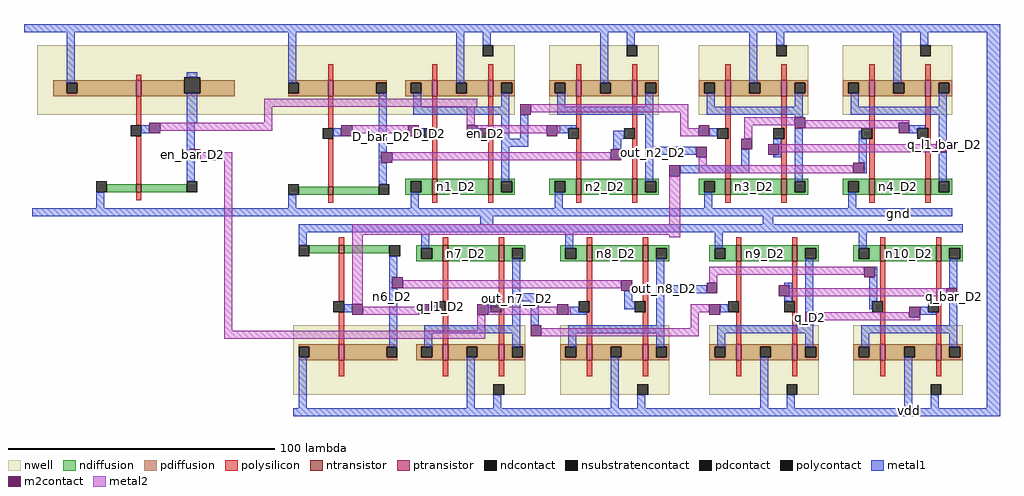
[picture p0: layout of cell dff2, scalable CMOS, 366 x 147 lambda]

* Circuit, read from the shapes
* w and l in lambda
.subckt dff2 D_D2 D_bar_D2 en_D2 en_bar_D2 gnd n10_D2 n1_D2 n2_D2 n3_D2 n4_D2 n6_D2 n7_D2 n8_D2 n9_D2 out_n1_D2 out_n2_D2 out_n7__D2 out_n8_D2 q_D2 q_bar_D2 q_l1_D2 q_l1_bar_D2 vdd
M1 en_bar_D2 en_D2 gnd VSUBS nfet w=3 l=2
M2 D_bar_D2 D_D2 gnd VSUBS nfet w=3 l=2
M3 n6_D2 q_l1_D2 gnd VSUBS nfet w=3 l=2
M4 n1_D2 D_D2 gnd VSUBS nfet w=6 l=2
M5 n7_D2 q_l1_D2 gnd VSUBS nfet w=6 l=2
M6 out_n1_D2 en_D2 n1_D2 VSUBS nfet w=6 l=2
M7 out_n7__D2 en_bar_D2 n7_D2 VSUBS nfet w=6 l=2
M8 n2_D2 en_D2 gnd VSUBS nfet w=6 l=2
M9 n8_D2 en_bar_D2 gnd VSUBS nfet w=6 l=2
M10 out_n2_D2 D_bar_D2 n2_D2 VSUBS nfet w=6 l=2
M11 out_n8_D2 n6_D2 n8_D2 VSUBS nfet w=6 l=2
M12 n3_D2 out_n1_D2 gnd VSUBS nfet w=6 l=2
M13 n9_D2 out_n7__D2 gnd VSUBS nfet w=6 l=2
M14 q_l1_D2 q_l1_bar_D2 n3_D2 VSUBS nfet w=6 l=2
M15 q_D2 q_bar_D2 n9_D2 VSUBS nfet w=6 l=2
M16 n4_D2 out_n2_D2 gnd VSUBS nfet w=6 l=2
M17 n10_D2 out_n8_D2 gnd VSUBS nfet w=6 l=2
M18 q_l1_bar_D2 q_l1_D2 n4_D2 VSUBS nfet w=6 l=2
M19 q_bar_D2 q_D2 n10_D2 VSUBS nfet w=6 l=2
M20 en_bar_D2 en_D2 vdd vdd pfet w=6 l=2
M21 D_bar_D2 D_D2 vdd vdd pfet w=6 l=2
M22 n6_D2 q_l1_D2 vdd vdd pfet w=6 l=2
M23 vdd D_D2 out_n1_D2 vdd pfet w=6 l=2
M24 vdd q_l1_D2 out_n7__D2 vdd pfet w=6 l=2
M25 out_n1_D2 en_D2 vdd vdd pfet w=6 l=2
M26 out_n7__D2 en_bar_D2 vdd vdd pfet w=6 l=2
M27 vdd en_D2 out_n2_D2 vdd pfet w=6 l=2
M28 vdd en_bar_D2 out_n8_D2 vdd pfet w=6 l=2
M29 out_n2_D2 D_bar_D2 vdd vdd pfet w=6 l=2
M30 out_n8_D2 n6_D2 vdd vdd pfet w=6 l=2
M31 vdd out_n1_D2 q_l1_D2 vdd pfet w=6 l=2
M32 vdd out_n7__D2 q_D2 vdd pfet w=6 l=2
M33 q_l1_D2 q_l1_bar_D2 vdd vdd pfet w=6 l=2
M34 q_D2 q_bar_D2 vdd vdd pfet w=6 l=2
M35 vdd out_n2_D2 q_l1_bar_D2 vdd pfet w=6 l=2
M36 vdd out_n8_D2 q_bar_D2 vdd pfet w=6 l=2
M37 q_l1_bar_D2 q_l1_D2 vdd vdd pfet w=6 l=2
M38 q_bar_D2 q_D2 vdd vdd pfet w=6 l=2
.ends

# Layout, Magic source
magic
tech scmos
<< nwell >>
rect 5 113 184 139
rect 197 113 238 139
rect 253 113 294 139
rect 307 113 348 139
rect 101 8 188 34
rect 201 8 242 34
rect 257 8 298 34
rect 311 8 352 34
<< polysilicon >>
rect 42 126 44 128
rect 114 126 116 132
rect 153 126 155 132
rect 174 126 176 132
rect 207 126 209 132
rect 228 126 230 132
rect 263 126 265 132
rect 284 126 286 132
rect 317 126 319 132
rect 338 126 340 132
rect 42 109 44 120
rect 114 108 116 120
rect 153 108 155 120
rect 174 108 176 120
rect 207 108 209 120
rect 228 108 230 120
rect 263 108 265 120
rect 284 108 286 120
rect 317 108 319 120
rect 338 108 340 120
rect 42 87 44 105
rect 154 104 155 108
rect 175 104 176 108
rect 208 104 209 108
rect 229 104 230 108
rect 264 104 265 108
rect 285 104 286 108
rect 318 104 319 108
rect 339 104 340 108
rect 42 81 44 84
rect 114 86 116 104
rect 153 89 155 104
rect 174 89 176 104
rect 207 89 209 104
rect 228 89 230 104
rect 263 89 265 104
rect 284 89 286 104
rect 317 89 319 104
rect 338 89 340 104
rect 114 80 116 83
rect 153 80 155 83
rect 174 80 176 83
rect 207 80 209 83
rect 228 80 230 83
rect 263 80 265 83
rect 284 80 286 83
rect 317 80 319 83
rect 338 80 340 83
rect 118 64 120 67
rect 157 64 159 67
rect 178 64 180 67
rect 211 64 213 67
rect 232 64 234 67
rect 267 64 269 67
rect 288 64 290 67
rect 321 64 323 67
rect 342 64 344 67
rect 118 43 120 61
rect 157 43 159 58
rect 178 43 180 58
rect 211 43 213 58
rect 232 43 234 58
rect 267 43 269 58
rect 288 43 290 58
rect 321 43 323 58
rect 342 43 344 58
rect 158 39 159 43
rect 179 39 180 43
rect 212 39 213 43
rect 233 39 234 43
rect 268 39 269 43
rect 289 39 290 43
rect 322 39 323 43
rect 343 39 344 43
rect 118 27 120 39
rect 157 27 159 39
rect 178 27 180 39
rect 211 27 213 39
rect 232 27 234 39
rect 267 27 269 39
rect 288 27 290 39
rect 321 27 323 39
rect 342 27 344 39
rect 118 15 120 21
rect 157 15 159 21
rect 178 15 180 21
rect 211 15 213 21
rect 232 15 234 21
rect 267 15 269 21
rect 288 15 290 21
rect 321 15 323 21
rect 342 15 344 21
<< ndiffusion >>
rect 31 84 42 87
rect 44 84 61 87
rect 143 88 153 89
rect 103 83 114 86
rect 116 83 133 86
rect 143 84 145 88
rect 149 84 153 88
rect 143 83 153 84
rect 155 83 174 89
rect 176 88 184 89
rect 176 84 179 88
rect 183 84 184 88
rect 176 83 184 84
rect 197 88 207 89
rect 197 84 199 88
rect 203 84 207 88
rect 197 83 207 84
rect 209 83 228 89
rect 230 88 238 89
rect 230 84 233 88
rect 237 84 238 88
rect 230 83 238 84
rect 253 88 263 89
rect 253 84 255 88
rect 259 84 263 88
rect 253 83 263 84
rect 265 83 284 89
rect 286 88 294 89
rect 286 84 289 88
rect 293 84 294 88
rect 286 83 294 84
rect 307 88 317 89
rect 307 84 309 88
rect 313 84 317 88
rect 307 83 317 84
rect 319 83 338 89
rect 340 88 348 89
rect 340 84 343 88
rect 347 84 348 88
rect 340 83 348 84
rect 107 61 118 64
rect 120 61 137 64
rect 147 63 157 64
rect 147 59 149 63
rect 153 59 157 63
rect 147 58 157 59
rect 159 58 178 64
rect 180 63 188 64
rect 180 59 183 63
rect 187 59 188 63
rect 180 58 188 59
rect 201 63 211 64
rect 201 59 203 63
rect 207 59 211 63
rect 201 58 211 59
rect 213 58 232 64
rect 234 63 242 64
rect 234 59 237 63
rect 241 59 242 63
rect 234 58 242 59
rect 257 63 267 64
rect 257 59 259 63
rect 263 59 267 63
rect 257 58 267 59
rect 269 58 288 64
rect 290 63 298 64
rect 290 59 293 63
rect 297 59 298 63
rect 290 58 298 59
rect 311 63 321 64
rect 311 59 313 63
rect 317 59 321 63
rect 311 58 321 59
rect 323 58 342 64
rect 344 63 352 64
rect 344 59 347 63
rect 351 59 352 63
rect 344 58 352 59
<< pdiffusion >>
rect 11 125 42 126
rect 11 121 16 125
rect 20 121 42 125
rect 11 120 42 121
rect 44 121 60 126
rect 66 121 79 126
rect 44 120 79 121
rect 99 125 114 126
rect 103 121 114 125
rect 99 120 114 121
rect 116 125 136 126
rect 116 121 132 125
rect 116 120 136 121
rect 143 125 153 126
rect 143 121 145 125
rect 149 121 153 125
rect 143 120 153 121
rect 155 125 174 126
rect 155 121 162 125
rect 166 121 174 125
rect 155 120 174 121
rect 176 125 184 126
rect 176 121 179 125
rect 183 121 184 125
rect 176 120 184 121
rect 197 125 207 126
rect 197 121 199 125
rect 203 121 207 125
rect 197 120 207 121
rect 209 125 228 126
rect 209 121 216 125
rect 220 121 228 125
rect 209 120 228 121
rect 230 125 238 126
rect 230 121 233 125
rect 237 121 238 125
rect 230 120 238 121
rect 253 125 263 126
rect 253 121 255 125
rect 259 121 263 125
rect 253 120 263 121
rect 265 125 284 126
rect 265 121 272 125
rect 276 121 284 125
rect 265 120 284 121
rect 286 125 294 126
rect 286 121 289 125
rect 293 121 294 125
rect 286 120 294 121
rect 307 125 317 126
rect 307 121 309 125
rect 313 121 317 125
rect 307 120 317 121
rect 319 125 338 126
rect 319 121 326 125
rect 330 121 338 125
rect 319 120 338 121
rect 340 125 348 126
rect 340 121 343 125
rect 347 121 348 125
rect 340 120 348 121
rect 103 26 118 27
rect 107 22 118 26
rect 103 21 118 22
rect 120 26 140 27
rect 120 22 136 26
rect 120 21 140 22
rect 147 26 157 27
rect 147 22 149 26
rect 153 22 157 26
rect 147 21 157 22
rect 159 26 178 27
rect 159 22 166 26
rect 170 22 178 26
rect 159 21 178 22
rect 180 26 188 27
rect 180 22 183 26
rect 187 22 188 26
rect 180 21 188 22
rect 201 26 211 27
rect 201 22 203 26
rect 207 22 211 26
rect 201 21 211 22
rect 213 26 232 27
rect 213 22 220 26
rect 224 22 232 26
rect 213 21 232 22
rect 234 26 242 27
rect 234 22 237 26
rect 241 22 242 26
rect 234 21 242 22
rect 257 26 267 27
rect 257 22 259 26
rect 263 22 267 26
rect 257 21 267 22
rect 269 26 288 27
rect 269 22 276 26
rect 280 22 288 26
rect 269 21 288 22
rect 290 26 298 27
rect 290 22 293 26
rect 297 22 298 26
rect 290 21 298 22
rect 311 26 321 27
rect 311 22 313 26
rect 317 22 321 26
rect 311 21 321 22
rect 323 26 342 27
rect 323 22 330 26
rect 334 22 342 26
rect 323 21 342 22
rect 344 26 352 27
rect 344 22 347 26
rect 351 22 352 26
rect 344 21 352 22
<< metal1 >>
rect 0 144 366 147
rect 16 125 19 144
rect 61 127 65 129
rect 99 125 102 144
rect 162 125 165 144
rect 172 139 175 144
rect 216 125 219 144
rect 226 139 229 144
rect 272 125 275 144
rect 282 139 285 144
rect 326 125 329 144
rect 336 139 339 144
rect 61 110 65 121
rect 44 106 47 109
rect 61 100 64 110
rect 116 105 119 108
rect 61 96 62 100
rect 133 99 136 121
rect 146 116 149 121
rect 179 116 182 121
rect 146 113 182 116
rect 148 105 150 108
rect 170 105 171 108
rect 179 104 182 113
rect 200 116 203 121
rect 233 116 236 121
rect 200 113 236 116
rect 256 116 259 121
rect 289 116 292 121
rect 256 113 292 116
rect 310 116 313 121
rect 343 116 346 121
rect 310 113 346 116
rect 186 104 189 113
rect 200 108 207 109
rect 200 106 204 108
rect 221 104 225 107
rect 179 101 189 104
rect 61 88 64 96
rect 133 95 134 99
rect 133 87 136 95
rect 179 88 182 101
rect 221 100 224 104
rect 233 101 236 113
rect 289 112 292 113
rect 257 105 260 108
rect 233 98 252 101
rect 233 88 236 98
rect 281 102 284 104
rect 269 94 272 100
rect 283 98 284 102
rect 281 97 284 98
rect 246 91 272 94
rect 289 88 292 108
rect 313 104 314 107
rect 332 108 338 109
rect 332 106 335 108
rect 313 95 316 104
rect 343 103 346 113
rect 315 91 316 95
rect 343 88 346 99
rect 27 78 30 84
rect 99 78 102 83
rect 145 78 148 84
rect 199 78 202 84
rect 255 78 258 84
rect 309 78 312 84
rect 3 75 348 78
rect 171 72 176 75
rect 277 72 281 75
rect 103 69 352 72
rect 103 64 106 69
rect 149 63 152 69
rect 203 63 206 69
rect 259 63 262 69
rect 313 63 316 69
rect 137 52 140 60
rect 137 48 138 52
rect 120 39 123 42
rect 137 26 140 48
rect 183 46 186 59
rect 183 43 193 46
rect 225 43 228 47
rect 237 49 240 59
rect 237 46 256 49
rect 285 49 288 50
rect 152 39 154 42
rect 174 39 175 42
rect 183 34 186 43
rect 150 31 186 34
rect 150 26 153 31
rect 183 26 186 31
rect 190 34 193 43
rect 204 39 208 41
rect 225 40 229 43
rect 204 38 211 39
rect 237 34 240 46
rect 287 45 288 49
rect 285 43 288 45
rect 261 39 264 42
rect 293 39 296 59
rect 319 52 320 56
rect 317 43 320 52
rect 347 48 350 59
rect 317 40 318 43
rect 336 39 339 41
rect 336 38 342 39
rect 293 34 296 35
rect 347 34 350 44
rect 204 31 240 34
rect 204 26 207 31
rect 237 26 240 31
rect 260 31 296 34
rect 260 26 263 31
rect 293 26 296 31
rect 314 31 350 34
rect 314 26 317 31
rect 347 26 350 31
rect 103 3 106 22
rect 166 3 169 22
rect 176 3 179 8
rect 220 3 223 22
rect 230 3 233 8
rect 276 3 279 22
rect 286 3 289 8
rect 330 3 333 22
rect 340 3 343 8
rect 361 3 366 144
rect 101 0 366 3
<< metal2 >>
rect 90 116 170 119
rect 90 110 93 116
rect 51 107 93 110
rect 166 109 169 116
rect 190 114 249 117
rect 123 106 144 109
rect 170 106 196 109
rect 200 106 201 109
rect 246 108 249 114
rect 270 109 289 112
rect 246 105 253 108
rect 270 104 273 109
rect 293 110 332 111
rect 293 108 328 110
rect 66 96 78 99
rect 75 32 78 96
rect 138 96 220 99
rect 283 99 342 102
rect 253 94 256 97
rect 253 91 311 94
rect 242 72 246 90
rect 123 68 246 72
rect 123 42 127 68
rect 242 67 246 68
rect 257 53 315 56
rect 142 48 224 51
rect 257 50 260 53
rect 287 45 346 48
rect 127 38 148 41
rect 174 38 200 41
rect 204 38 205 41
rect 250 39 257 42
rect 170 32 173 38
rect 75 29 173 32
rect 250 33 253 39
rect 297 37 332 39
rect 297 36 336 37
rect 194 30 253 33
<< ntransistor >>
rect 42 84 44 87
rect 114 83 116 86
rect 153 83 155 89
rect 174 83 176 89
rect 207 83 209 89
rect 228 83 230 89
rect 263 83 265 89
rect 284 83 286 89
rect 317 83 319 89
rect 338 83 340 89
rect 118 61 120 64
rect 157 58 159 64
rect 178 58 180 64
rect 211 58 213 64
rect 232 58 234 64
rect 267 58 269 64
rect 288 58 290 64
rect 321 58 323 64
rect 342 58 344 64
<< ptransistor >>
rect 42 120 44 126
rect 114 120 116 126
rect 153 120 155 126
rect 174 120 176 126
rect 207 120 209 126
rect 228 120 230 126
rect 263 120 265 126
rect 284 120 286 126
rect 317 120 319 126
rect 338 120 340 126
rect 118 21 120 27
rect 157 21 159 27
rect 178 21 180 27
rect 211 21 213 27
rect 232 21 234 27
rect 267 21 269 27
rect 288 21 290 27
rect 321 21 323 27
rect 342 21 344 27
<< polycontact >>
rect 40 105 44 109
rect 112 104 116 108
rect 150 104 154 108
rect 171 104 175 108
rect 204 104 208 108
rect 225 104 229 108
rect 260 104 264 108
rect 281 104 285 108
rect 314 104 318 108
rect 335 104 339 108
rect 116 39 120 43
rect 154 39 158 43
rect 175 39 179 43
rect 208 39 212 43
rect 229 39 233 43
rect 264 39 268 43
rect 285 39 289 43
rect 318 39 322 43
rect 339 39 343 43
<< ndcontact >>
rect 27 84 31 88
rect 61 84 65 88
rect 99 83 103 87
rect 133 83 137 87
rect 145 84 149 88
rect 179 84 183 88
rect 199 84 203 88
rect 233 84 237 88
rect 255 84 259 88
rect 289 84 293 88
rect 309 84 313 88
rect 343 84 347 88
rect 103 60 107 64
rect 137 60 141 64
rect 149 59 153 63
rect 183 59 187 63
rect 203 59 207 63
rect 237 59 241 63
rect 259 59 263 63
rect 293 59 297 63
rect 313 59 317 63
rect 347 59 351 63
<< pdcontact >>
rect 16 121 20 125
rect 60 121 66 127
rect 99 121 103 125
rect 132 121 136 125
rect 145 121 149 125
rect 162 121 166 125
rect 179 121 183 125
rect 199 121 203 125
rect 216 121 220 125
rect 233 121 237 125
rect 255 121 259 125
rect 272 121 276 125
rect 289 121 293 125
rect 309 121 313 125
rect 326 121 330 125
rect 343 121 347 125
rect 103 22 107 26
rect 136 22 140 26
rect 149 22 153 26
rect 166 22 170 26
rect 183 22 187 26
rect 203 22 207 26
rect 220 22 224 26
rect 237 22 241 26
rect 259 22 263 26
rect 276 22 280 26
rect 293 22 297 26
rect 313 22 317 26
rect 330 22 334 26
rect 347 22 351 26
<< m2contact >>
rect 47 106 51 110
rect 119 105 123 109
rect 62 96 66 100
rect 144 105 148 109
rect 166 105 170 109
rect 186 113 190 117
rect 196 105 200 109
rect 134 95 138 99
rect 220 96 224 100
rect 253 105 257 109
rect 289 108 293 112
rect 252 97 256 101
rect 269 100 273 104
rect 279 98 283 102
rect 242 90 246 94
rect 328 106 332 110
rect 342 99 346 103
rect 311 91 315 95
rect 138 48 142 52
rect 123 38 127 42
rect 224 47 228 51
rect 256 46 260 50
rect 148 38 152 42
rect 170 38 174 42
rect 200 38 204 42
rect 283 45 287 49
rect 257 38 261 42
rect 315 52 319 56
rect 346 44 350 48
rect 293 35 297 39
rect 332 37 336 41
rect 190 30 194 34
<< nsubstratencontact >>
rect 172 135 176 139
rect 226 135 230 139
rect 282 135 286 139
rect 336 135 340 139
rect 176 8 180 12
rect 230 8 234 12
rect 286 8 290 12
rect 340 8 344 12
<< labels >>
rlabel metal1 328 76 328 76 1 gnd
rlabel metal1 332 2 332 2 1 vdd
rlabel metal1 332 71 332 71 5 gnd
rlabel m2contact 63 98 63 98 1 en_bar_D2
rlabel polycontact 152 106 152 106 1 D_D2
rlabel metal1 134 105 134 105 1 D_bar_D2
rlabel ndiffusion 162 86 162 86 1 n1_D2
rlabel polycontact 173 106 173 106 1 en_D2
rlabel metal1 181 103 181 103 1 out_n1_D2
rlabel ndiffusion 218 86 218 86 1 n2_D2
rlabel metal1 236 99 236 99 1 out_n2_D2
rlabel ndiffusion 274 86 274 86 1 n3_D2
rlabel ndiffusion 328 86 328 86 1 n4_D2
rlabel m2contact 349 45 349 45 1 q_bar_D2
rlabel ndiffusion 332 61 332 61 1 n10_D2
rlabel m2contact 295 37 295 37 1 q_D2
rlabel ndiffusion 278 61 278 61 1 n9_D2
rlabel metal1 240 48 240 48 1 out_n8_D2
rlabel ndiffusion 222 61 222 61 1 n8_D2
rlabel metal1 185 44 185 44 1 out_n7__D2
rlabel ndiffusion 166 61 166 61 1 n7_D2
rlabel polycontact 156 41 156 41 1 q_l1_D2
rlabel metal1 138 45 138 45 1 n6_D2
rlabel m2contact 345 102 345 102 1 q_l1_bar_D2
<< end >>
